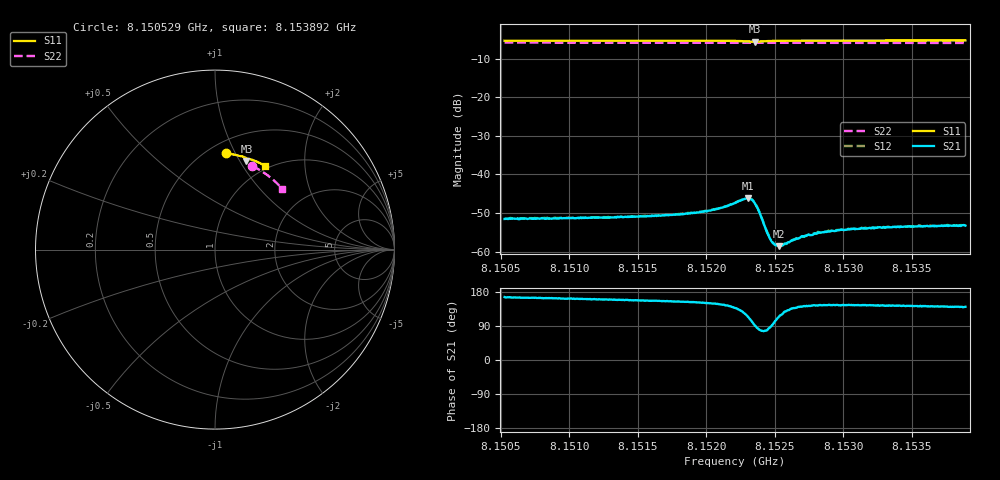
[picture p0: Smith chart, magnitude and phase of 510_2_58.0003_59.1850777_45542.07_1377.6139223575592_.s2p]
#  HZ  S  RI  R  50.00
! Rohde & Schwarz Vector Network Analyzer
! Rohde-Schwarz,ZNB20-2Port,1311601062101988,3.16
! Created: UTC 3/21/2024, 1:13:09 AM
! freq[Hz]  re:S11  im:S11  re:S21  im:S21  re:S12  im:S12  re:S22  im:S22
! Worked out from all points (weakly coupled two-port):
!   401 points, 8.150529 GHz to 8.153892 GHz, reference 50 ohm
!   highest |S21| = -46.19 dB at 8.152303 GHz (marker M1); lowest = -58.6 dB at 8.15253 GHz (marker M2)
!   lowest |S11| = -5.6 dB at 8.152353 GHz (marker M3), VSWR 3.20, Z = 39.3 + j53.4 ohm
!   |S11| at or under -10 dB: nowhere
!   |S22| runs from -5.9 to -5.9 dB; largest |S21 - S12| = 0.00014
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8.1505292e9  0.0592 0.5356  -0.00257 0.000637  -0.00259 0.000695  0.2074 0.4658
8.1510925e9  0.0983 0.5306  -0.00257 0.000863  -0.00259 0.000927  0.2395 0.4491
8.1516557e9  0.1374 0.5228  -0.00269 0.00118  -0.00266 0.00123  0.2702 0.4304
8.1518239e9  0.1493 0.5195  -0.00272 0.00134  -0.00275 0.00143  0.2792 0.4243
8.1520172e9  0.1633 0.5149  -0.00293 0.0017  -0.00295 0.00173  0.2891 0.4171
8.1521349e9  0.1727 0.5106  -0.00312 0.00218  -0.00309 0.00224  0.2953 0.4126
8.1522106e9  0.1786 0.506  -0.00316 0.00286  -0.00313 0.00293  0.2991 0.4095
8.152303e9  0.1812 0.4957  -0.00208 0.00444  -0.00203 0.00448  0.3035 0.4056
8.1523283e9  0.1785 0.4936  -0.00117 0.0046  -0.00111 0.00465  0.3043 0.4047
8.1523535e9  0.1753 0.4935  -0.000144 0.00426  -0.000127 0.00431  0.3057 0.4039
8.1523787e9  0.1732 0.4963  0.000446 0.0035  0.000514 0.00355  0.3068 0.4029
8.152446e9  0.1766 0.5032  0.000333 0.0017  0.000354 0.00175  0.3102 0.4007
8.1524712e9  0.1793 0.5043  4.85e-05 0.00141  4.1e-05 0.00144  0.3114 0.3996
8.1524964e9  0.1819 0.505  -0.000197 0.00124  -0.000179 0.00124  0.3127 0.3986
8.15253e9  0.1852 0.5053  -0.00047 0.00108  -0.000478 0.00108  0.3146 0.3974
8.1525552e9  0.1876 0.5053  -0.000611 0.00102  -0.00064 0.00105  0.3158 0.3964
8.1527066e9  0.2001 0.5027  -0.00124 0.000985  -0.0012 0.000986  0.3231 0.3902
8.1527738e9  0.2051 0.5011  -0.00132 0.000967  -0.00135 0.000992  0.3264 0.3873
8.1528327e9  0.2093 0.4997  -0.00145 0.00101  -0.00139 0.00105  0.329 0.3848
8.1529756e9  0.2192 0.4959  -0.00155 0.0011  -0.00156 0.0011  0.3359 0.3787
8.1533371e9  0.2428 0.4856  -0.00168 0.00121  -0.00165 0.00126  0.3522 0.3628
8.1538919e9  0.2772 0.4679  -0.00167 0.00139  -0.00164 0.00141  0.3759 0.3369
